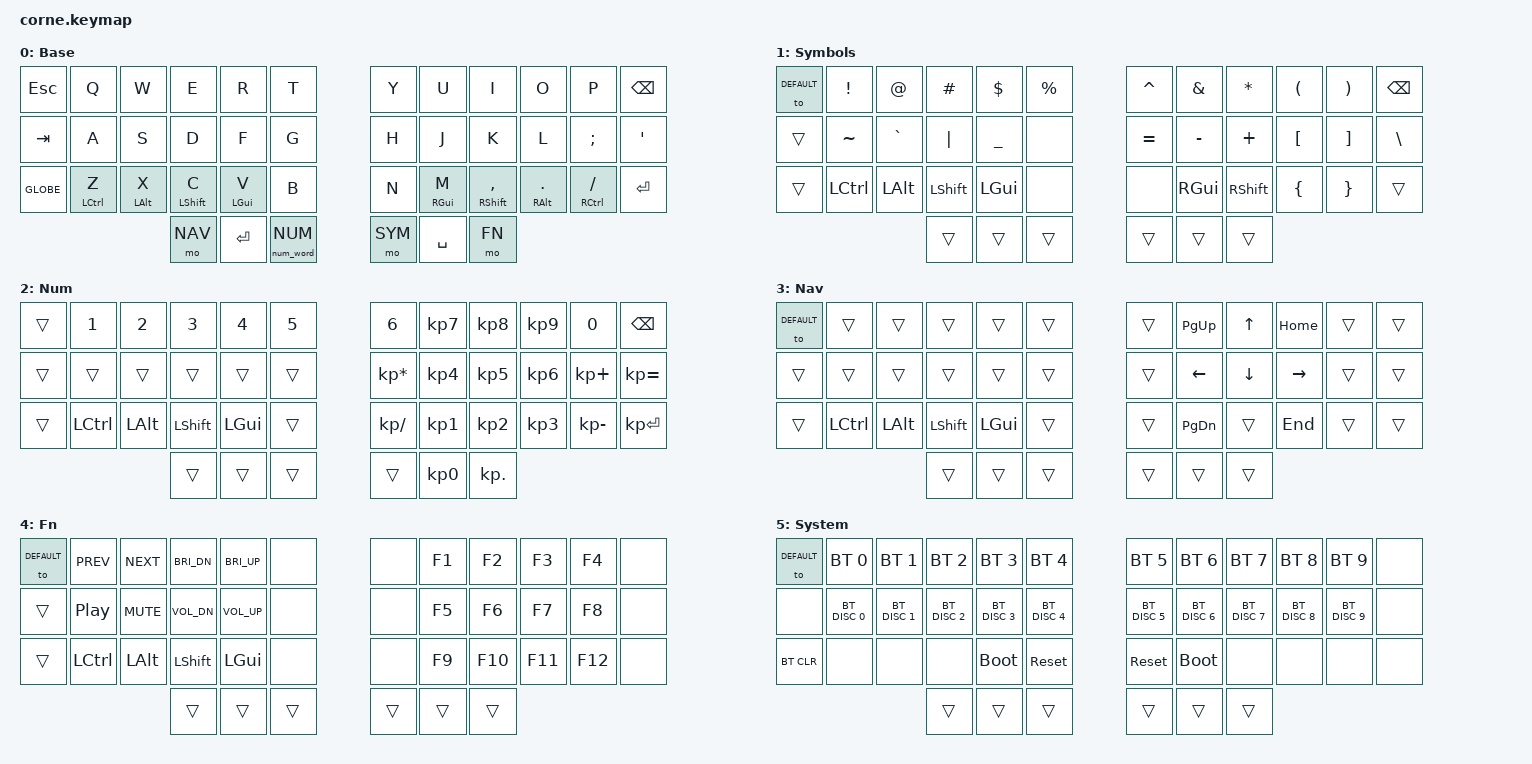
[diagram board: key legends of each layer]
/*
 * Copyright (c) 2020 The ZMK Contributors
 *
 * SPDX-License-Identifier: MIT
 */

#include <behaviors.dtsi>
#include <dt-bindings/zmk/keys.h>
#include <dt-bindings/zmk/bt.h>
#include <behaviors/num_word.dtsi>
#include <zmk-helpers/helper.h>
#include "zmk-helpers/key-labels/42.h"

#define KEYS_L LT0 LT1 LT2 LT3 LT4 LT5 LM0 LM1 LM2 LM3 LM4 LM5 LB0 LB1 LB2 LB3 LB4 LB5
#define KEYS_R RT0 RT1 RT2 RT3 RT4 RT5 RM0 RM1 RM2 RM3 RM4 RM5 RB0 RB1 RB2 RB3 RB4 RB5
#define THUMBS LH2 LH1 LH0 RH0 RH1 RH2
// Layers
#define DEFAULT 0
#define SYM     1
#define NUM     2
#define NAV     3
#define FN      4
#define SYS     5

#define XXX &none
#define ___ &trans

&num_word {
  continue-list = <BSPC KP_MULTIPLY KP_PLUS KP_EQUAL KP_SLASH KP_MINUS KP_ENTER KP_DOT>;
};

/* Left-hand HRMs. */
ZMK_HOLD_TAP(hml,
    flavor = "balanced";
    tapping-term-ms = <280>;
    quick-tap-ms = <175>;
    require-prior-idle-ms = <150>;
    bindings = <&kp>, <&kp>;
    hold-trigger-key-positions = <KEYS_R THUMBS>;
    hold-trigger-on-release;
)

/* Right-hand HRMs. */
ZMK_HOLD_TAP(hmr,
    flavor = "balanced";
    tapping-term-ms = <280>;
    quick-tap-ms = <175>;
    require-prior-idle-ms = <150>;
    bindings = <&kp>, <&kp>;
    hold-trigger-key-positions = <KEYS_L THUMBS>;
    hold-trigger-on-release;
)

// TODO: Add more combos
// TODO: Magic Shift
// TODO: SMART_NUM
// TODO: Mouse Layer

/ {
        combos {
//╭─────────────┬─────────────┬─────────────┬─────────────┬─────────────┬─────────────╮ ╭─────────────┬─────────────┬─────────────┬─────────────┬─────────────┬─────────────╮
//     0 LT5         1 LT4         2 LT3         3 LT2         4 LT1         5 LT0           6 RT0         7 RT1         8 RT2         9 RT3        10 RT4        11 RT5
//├─────────────┼─────────────┼─────────────┼─────────────┼─────────────┼─────────────┤ ├─────────────┼─────────────┼─────────────┼─────────────┼─────────────┼─────────────┤
//    12 LM5        13 LM4        14 LM3        15 LM2        16 LM1        17 LM0          18 RM0        19 RM1        20 RM2        21 RM3        22 RM4        23 RM5
//├─────────────┼─────────────┼─────────────┼─────────────┼─────────────┼─────────────┤ ├─────────────┼─────────────┼─────────────┼─────────────┼─────────────┼─────────────┤
//    24 LB5        25 LB4        26 LB3        27 LB2        28 LB1        29 LB0          30 RB0        31 RB1        32 RB2        33 RB3        34 RB4        35 RB5
//╰─────────────┴─────────────┴─────────────┼─────────────┼─────────────┼─────────────┤ ├─────────────┼─────────────┼─────────────┴─────────────┴─────────────┴─────────────╯
//                                              36 LH2        37 LH1        38 LH0          39 RH0        40 RH1        41 RH2
//                                          ╰─────────────┴─────────────┴─────────────╯ ╰─────────────┴─────────────┴─────────────╯
          compatible = "zmk,combos";

          to_base {
              bindings = <&to DEFAULT>;
              key-positions = <5 6>;
          };

          to_sym {
              bindings = <&to SYM>;
              key-positions = <1 2>;
          };

          to_num {
              bindings = <&to NUM>;
              key-positions = <1 3>;
          };

          to_nav {
              bindings = <&to NAV>;
              key-positions = <1 4>;
          };

          to_fn {
              bindings = <&to FN>;
              key-positions = <1 5>;
          };

          to_sys {
              bindings = <&to SYS>;
              key-positions = <0 5>;
          };
        };
        keymap {
                compatible = "zmk,keymap";

                default_layer {
                        display-name = "Base";
                        bindings = <
//╭─────────────┬─────────────┬─────────────┬─────────────┬─────────────┬─────────────╮ ╭─────────────┬─────────────┬─────────────┬─────────────┬─────────────┬─────────────╮
    &kp ESC       &kp Q         &kp W         &kp E         &kp R         &kp T           &kp Y         &kp U         &kp I         &kp O         &kp P         &kp BSPC
//├─────────────┼─────────────┼─────────────┼─────────────┼─────────────┼─────────────┤ ├─────────────┼─────────────┼─────────────┼─────────────┼─────────────┼─────────────┤
    &kp TAB       &kp A         &kp S         &kp D         &kp F         &kp G           &kp H         &kp J         &kp K         &kp L         &kp SEMI      &kp SQT
//├─────────────┼─────────────┼─────────────┼─────────────┼─────────────┼─────────────┤ ├─────────────┼─────────────┼─────────────┼─────────────┼─────────────┼─────────────┤
    &kp GLOBE     &hml LCTRL Z  &hml LALT X   &hml LSHIFT C &hml LGUI V   &kp B           &kp N       &hmr RGUI M &hmr RSHIFT COMMA &hmr RALT DOT &hmr RCTRL FSLH &kp ENTER
//╰─────────────┴─────────────┴─────────────┼─────────────┼─────────────┼─────────────┤ ├─────────────┼─────────────┼─────────────┴─────────────┴─────────────┴─────────────╯
                                              &mo NAV       &kp ENTER     &num_word NUM   &mo SYM       &kp SPACE     &mo FN
//                                          ╰─────────────┴─────────────┴─────────────╯ ╰─────────────┴─────────────┴─────────────╯
                        >;
                };

                sym_layer {
// -----------------------------------------------------------------------------------------
// |  DEF  |  !  |  @  |  #  |  $  |  %  |   |  ^  |  &  |  *  |  (  |  )  | BKSP |
// | TAB   |  ~  |  `  | "|" |  _  |     |   |  =  |  -  |  +  |  {  |  }  |  \   |
// | GLOBE |     |     |     |     |     |   |     |     |     |  [  |  ]  |  ENT |
//                    | GUI | ENT | NUM |   | SPC | SYM  | NAV |
                        display-name = "Symbols";
                        bindings = <
//╭─────────────┬─────────────┬─────────────┬─────────────┬─────────────┬─────────────╮ ╭─────────────┬─────────────┬─────────────┬─────────────┬─────────────┬─────────────╮
    &to DEFAULT   &kp EXCL      &kp AT        &kp HASH      &kp DLLR      &kp PRCNT       &kp CARET     &kp AMPS      &kp ASTERISK  &kp LPAR      &kp RPAR      &kp BSPC
//├─────────────┼─────────────┼─────────────┼─────────────┼─────────────┼─────────────┤ ├─────────────┼─────────────┼─────────────┼─────────────┼─────────────┼─────────────┤
    ___           &kp TILDE     &kp GRAVE     &kp PIPE      &kp UNDER     XXX             &kp EQUAL     &kp MINUS     &kp PLUS      &kp LBKT      &kp RBKT      &kp BSLH
//├─────────────┼─────────────┼─────────────┼─────────────┼─────────────┼─────────────┤ ├─────────────┼─────────────┼─────────────┼─────────────┼─────────────┼─────────────┤
    ___           &kp LCTRL     &kp LALT      &kp LSHIFT    &kp LGUI      XXX             XXX           &kp RGUI      &kp RSHIFT    &kp LBRC      &kp RBRC      ___
//╰─────────────┴─────────────┴─────────────┼─────────────┼─────────────┼─────────────┤ ├─────────────┼─────────────┼─────────────┴─────────────┴─────────────┴─────────────╯
                                              ___           ___           ___             ___           ___           ___
//                                          ╰─────────────┴─────────────┴─────────────╯ ╰─────────────┴─────────────┴─────────────╯
                        >;
                };

                num_layer {
// -----------------------------------------------------------------------------------------
// | BASE  |  1  |  2  |  3  |  4  |  5  |   |  6  |  7  |  8  |  9  |  0  | BKSP |
// | TAB   |     |     |     |     |     |   |  *  |  4  |  5  |  6  |  +  |  =   |
// | GLOBE |     |     |     |     |     |   |  /  |  1  |  2  |  3  |  -  | ENT  |
//                    | GUI | ENT | NUM |   | RET |  0  |  .  |
                        display-name = "Num";
                        bindings = <
//╭─────────────┬─────────────┬─────────────┬─────────────┬─────────────┬─────────────╮ ╭─────────────┬─────────────┬─────────────┬─────────────┬─────────────┬─────────────╮
    ___           &kp N1        &kp N2        &kp N3        &kp N4        &kp N5          &kp N6        &kp KP_N7     &kp KP_N8     &kp KP_N9     &kp N0        &kp BSPC
//├─────────────┼─────────────┼─────────────┼─────────────┼─────────────┼─────────────┤ ├─────────────┼─────────────┼─────────────┼─────────────┼─────────────┼─────────────┤
    ___           ___           ___           ___           ___           ___           &kp KP_MULTIPLY &kp KP_N4     &kp KP_N5     &kp KP_N6     &kp KP_PLUS   &kp KP_EQUAL
//├─────────────┼─────────────┼─────────────┼─────────────┼─────────────┼─────────────┤ ├─────────────┼─────────────┼─────────────┼─────────────┼─────────────┼─────────────┤
    ___           &kp LCTRL     &kp LALT      &kp LSHIFT    &kp LGUI      ___             &kp KP_SLASH  &kp KP_N1     &kp KP_N2     &kp KP_N3     &kp KP_MINUS  &kp KP_ENTER
//╰─────────────┴─────────────┴─────────────┼─────────────┼─────────────┼─────────────┤ ├─────────────┼─────────────┼─────────────┴─────────────┴─────────────┴─────────────╯
                                              ___           ___           ___             ___           &kp KP_N0     &kp KP_DOT
//                                          ╰─────────────┴─────────────┴─────────────╯ ╰─────────────┴─────────────┴─────────────╯
                        >;
                };

                nav_layer {
// -----------------------------------------------------------------------------------------
// |      |     |     |     |     |     |   |     | PGUP | HOME |     |     |      |
// |      |     |     |     |     |     |   | LFT | DWN  | UP   | RGT |     |      |
// |      |     |     |     |     |     |   |     | PGDN | END  |     |     |      |
//                    | GUI | ENT | NUM |   | SPC | SYM  | NAV |
                        display-name = "Nav";
                        bindings = <
//╭─────────────┬─────────────┬─────────────┬─────────────┬─────────────┬─────────────╮ ╭─────────────┬─────────────┬─────────────┬─────────────┬─────────────┬─────────────╮
    &to DEFAULT   ___           ___           ___           ___           ___             ___           &kp PG_UP     &kp UP        &kp HOME      ___           ___
//├─────────────┼─────────────┼─────────────┼─────────────┼─────────────┼─────────────┤ ├─────────────┼─────────────┼─────────────┼─────────────┼─────────────┼─────────────┤
    ___           ___           ___           ___           ___           ___             ___           &kp LEFT      &kp DOWN      &kp RIGHT     ___           ___
//├─────────────┼─────────────┼─────────────┼─────────────┼─────────────┼─────────────┤ ├─────────────┼─────────────┼─────────────┼─────────────┼─────────────┼─────────────┤
    ___           &kp LCTRL     &kp LALT      &kp LSHIFT    &kp LGUI      ___             ___           &kp PG_DN     ___           &kp END       ___           ___
//╰─────────────┴─────────────┴─────────────┼─────────────┼─────────────┼─────────────┤ ├─────────────┼─────────────┼─────────────┴─────────────┴─────────────┴─────────────╯
                                              ___           ___           ___             ___           ___           ___
//                                          ╰─────────────┴─────────────┴─────────────╯ ╰─────────────┴─────────────┴─────────────╯
                        >;
                };

                function_layer {
                        display-name = "Fn";
                        bindings = <
//╭─────────────┬─────────────┬─────────────┬─────────────┬─────────────┬─────────────╮ ╭─────────────┬─────────────┬─────────────┬─────────────┬─────────────┬─────────────╮
    &to DEFAULT   &kp C_PREV    &kp C_NEXT    &kp C_BRI_DN  &kp C_BRI_UP  XXX             XXX           &kp F1        &kp F2        &kp F3        &kp F4        XXX
//├─────────────┼─────────────┼─────────────┼─────────────┼─────────────┼─────────────┤ ├─────────────┼─────────────┼─────────────┼─────────────┼─────────────┼─────────────┤
    ___       &kp C_PLAY_PAUSE  &kp C_MUTE    &kp C_VOL_DN  &kp C_VOL_UP  XXX             XXX           &kp F5        &kp F6        &kp F7        &kp F8        XXX
//├─────────────┼─────────────┼─────────────┼─────────────┼─────────────┼─────────────┤ ├─────────────┼─────────────┼─────────────┼─────────────┼─────────────┼─────────────┤
    ___           &kp LCTRL     &kp LALT      &kp LSHIFT    &kp LGUI      XXX             XXX           &kp F9        &kp F10       &kp F11       &kp F12       XXX
//╰─────────────┴─────────────┴─────────────┼─────────────┼─────────────┼─────────────┤ ├─────────────┼─────────────┼─────────────┴─────────────┴─────────────┴─────────────╯
                                              ___           ___           ___             ___           ___           ___
//                                          ╰─────────────┴─────────────┴─────────────╯ ╰─────────────┴─────────────┴─────────────╯
                        >;
                };

                sys_layer {
                        display-name = "System";
                        bindings = <
//╭─────────────┬─────────────┬─────────────┬─────────────┬─────────────┬─────────────╮ ╭─────────────┬─────────────┬─────────────┬─────────────┬─────────────┬─────────────╮
    &to DEFAULT   &bt BT_SEL 0  &bt BT_SEL 1  &bt BT_SEL 2  &bt BT_SEL 3  &bt BT_SEL 4    &bt BT_SEL 5  &bt BT_SEL 6  &bt BT_SEL 7  &bt BT_SEL 8  &bt BT_SEL 9  XXX
//├─────────────┼─────────────┼─────────────┼─────────────┼─────────────┼─────────────┤ ├─────────────┼─────────────┼─────────────┼─────────────┼─────────────┼─────────────┤
    XXX          &bt BT_DISC 0 &bt BT_DISC 1 &bt BT_DISC 2 &bt BT_DISC 3 &bt BT_DISC 4   &bt BT_DISC 5 &bt BT_DISC 6 &bt BT_DISC 7 &bt BT_DISC 8 &bt BT_DISC 9  XXX
//├─────────────┼─────────────┼─────────────┼─────────────┼─────────────┼─────────────┤ ├─────────────┼─────────────┼─────────────┼─────────────┼─────────────┼─────────────┤
    &bt BT_CLR    XXX           XXX           XXX           &bootloader   &sys_reset      &sys_reset    &bootloader   XXX           XXX           XXX           XXX
//╰─────────────┴─────────────┴─────────────┼─────────────┼─────────────┼─────────────┤ ├─────────────┼─────────────┼─────────────┴─────────────┴─────────────┴─────────────╯
                                              ___           ___           ___             ___           ___           ___
//                                          ╰─────────────┴─────────────┴─────────────╯ ╰─────────────┴─────────────┴─────────────╯
                        >;
                };
        };
};
